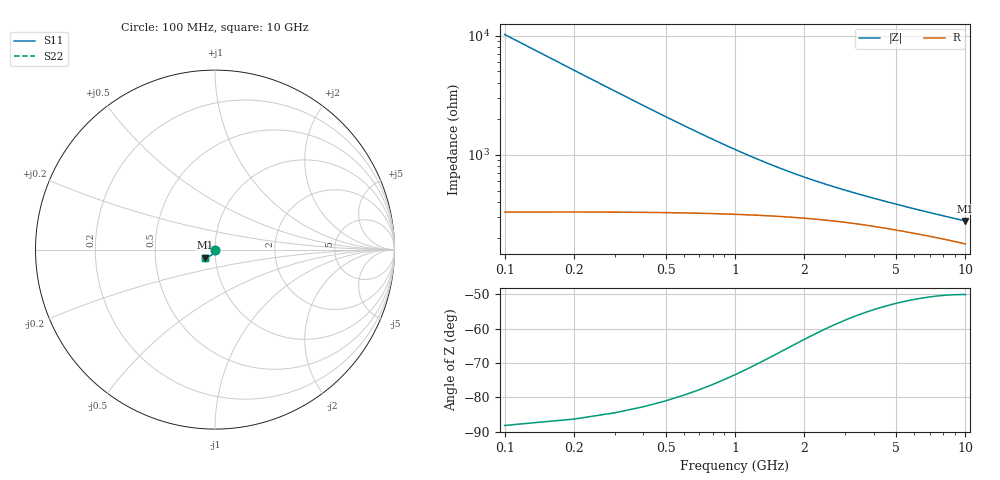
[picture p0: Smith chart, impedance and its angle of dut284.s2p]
! Touchstone file exported from HFSS 2024.1.0
!  File:  C:/UserFiles/LocalFiles/RDL_TSV_Batchsim/temp_TSV1_284_1778770492.aedt
!  Generated:  10:58:44 PM May 14, 2026
!  Design:  TSV1
!  Project:  temp_TSV1_284_1778770492
!  Setup:  Setup1
!  Solution:  Sweep
! Variables:
!  dtsv = 22.75um
!  hbump = 3um
!  htsv = 56.32um
!  lrdl = 252.1521522um
!  p = 40
!  p1 = 55.29um
!  t = 500um
!  trdl = 3um
!  wrdl = 24.89489489um
# GHz S MA R 50.000000
! Terminal data exported
! Port[1] = TSV22_T1
! Port[2] = TSV22_T2
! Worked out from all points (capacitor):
!   100 points, 100 MHz to 10 GHz, reference 50 ohm
!   read as one part in shunt: C = 156 fF near 100 MHz
!   lowest |Z| = 278 ohm at 10 GHz (marker M1)
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0.1  0.002215 -90.4  0.9998 -0.2  0.9998 -0.2  0.002215 -90.4
! Gamma 0 0 0 0
! Port Impedance 50 0 50 0
0.2  0.004418 -93.3  0.9996 -0.3  0.9996 -0.3  0.004418 -93.3
0.3  0.006599 -95.6  0.9992 -0.5  0.9992 -0.5  0.006599 -95.6
0.4  0.008748 -97.7  0.9986 -0.6  0.9986 -0.6  0.008748 -97.7
0.5  0.01085 -99.8  0.9979 -0.7  0.9979 -0.7  0.01085 -99.8
0.6  0.01291 -101.7  0.9971 -0.9  0.9971 -0.9  0.01291 -101.7
0.7  0.0149 -103.6  0.9962 -1.0  0.9962 -1.0  0.0149 -103.6
0.8  0.01682 -105.3  0.9952 -1.1  0.9952 -1.1  0.01682 -105.3
0.9  0.01868 -107.1  0.9942 -1.2  0.9942 -1.2  0.01868 -107.1
1.1  0.02217 -110.3  0.992 -1.4  0.992 -1.4  0.02217 -110.3
1.4  0.02686 -114.5  0.9886 -1.7  0.9886 -1.7  0.02686 -114.5
1.6  0.02964 -117.0  0.9864 -1.9  0.9864 -1.9  0.02964 -117.0
1.8  0.03217 -119.2  0.9842 -2.0  0.9842 -2.0  0.03217 -119.2
2.1  0.03555 -122.1  0.9811 -2.2  0.9811 -2.2  0.03555 -122.1
2.5  0.03945 -125.2  0.9773 -2.4  0.9773 -2.4  0.03945 -125.2
2.9  0.0428 -127.8  0.9739 -2.6  0.9739 -2.6  0.0428 -127.8
3.4  0.04644 -130.3  0.9701 -2.8  0.9701 -2.8  0.04644 -130.3
4.2  0.05136 -133.3  0.965 -3.1  0.965 -3.1  0.05136 -133.3
5.1  0.056 -135.8  0.9602 -3.4  0.9602 -3.4  0.056 -135.8
6.7  0.06264 -138.9  0.9533 -3.9  0.9533 -3.9  0.06264 -138.9
8.4  0.06817 -141.1  0.9477 -4.4  0.9477 -4.4  0.06817 -141.1
10  0.07242 -142.5  0.9435 -4.8  0.9435 -4.8  0.07242 -142.5
